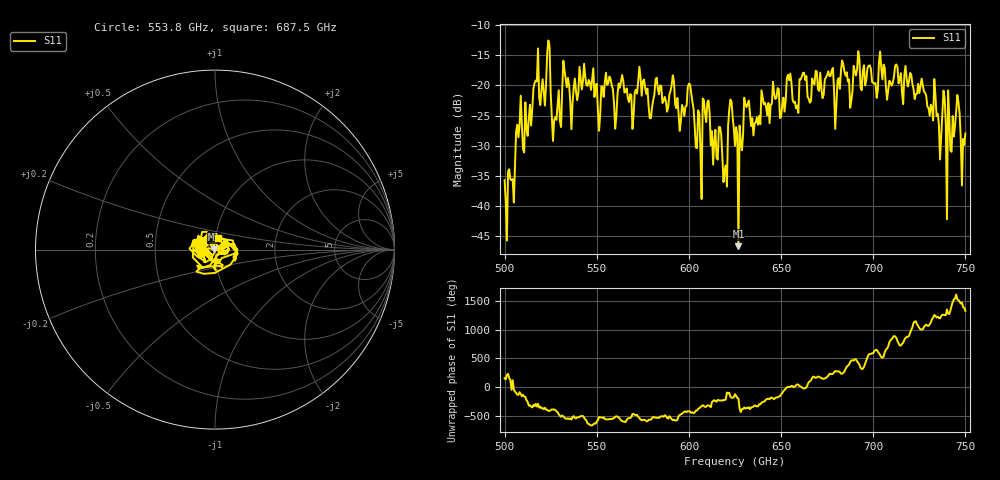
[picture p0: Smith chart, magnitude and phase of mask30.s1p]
!Created with skrf (http://scikit-rf.org).
# GHz S MA R 50.0
!freq magS11 angS11
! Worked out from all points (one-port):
!   401 points, 500 GHz to 750 GHz, reference 50 ohm
!   lowest |S11| = -46.6 dB at 626.9 GHz (marker M1), VSWR 1.01, Z = 49.6 + j0.192 ohm
!   |S11| at or under -10 dB: start of sweep to end of sweep
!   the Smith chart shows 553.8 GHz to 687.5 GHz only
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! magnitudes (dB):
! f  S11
! 500 GHz  -35.7
! 516.9 GHz  -19.2
! 520.6 GHz  -19.0
! 523.8 GHz  -12.6
! 526.9 GHz  -25.7
! 531.2 GHz  -20.7
! 562.5 GHz  -20.4
! 593.8 GHz  -22.1
! 600.6 GHz  -19.8
! 605.6 GHz  -24.7
! 609.4 GHz  -26.1
! 619.4 GHz  -34.1
! 622.5 GHz  -22.4
! 625 GHz  -30.0
! 626.9 GHz  -46.6
! 631.2 GHz  -23.6
! 636.2 GHz  -26.2
! 656.2 GHz  -22.4
! 676.9 GHz  -18.4
! 680.6 GHz  -19.2
! 683.8 GHz  -16.5
! 687.5 GHz  -23.7
! 691.2 GHz  -17.3
! 718.8 GHz  -20.2
! 738.1 GHz  -20.9
! 741.2 GHz  -25.3
! 745.6 GHz  -21.6
! 750 GHz  -28.0
